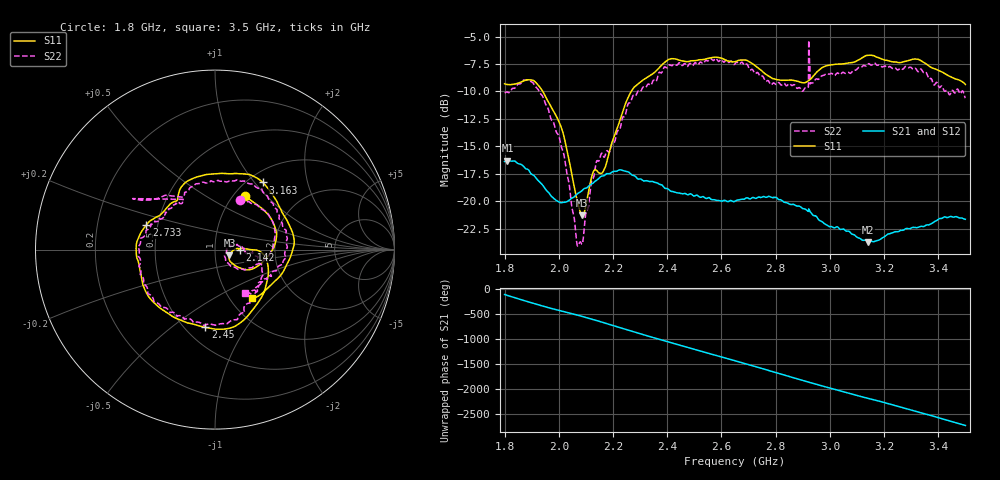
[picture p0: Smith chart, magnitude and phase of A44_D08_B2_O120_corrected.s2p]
! Created with skrf 1.9.0 (http://scikit-rf.org).
# Hz S RI R 50.0
!freq ReS11 ImS11 ReS21 ImS21 ReS12 ImS12 ReS22 ImS22
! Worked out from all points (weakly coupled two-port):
!   1601 points, 1.8 GHz to 3.5 GHz, reference 50 ohm
!   highest |S21| = -16.31 dB at 1.811 GHz (marker M1); lowest = -23.7 dB at 3.142 GHz (marker M2)
!   lowest |S11| = -21.3 dB at 2.087 GHz (marker M3), VSWR 1.19, Z = 58.6 - j3.74 ohm
!   |S11| at or under -10 dB: 1.941 GHz to 2.267 GHz (326.5 MHz wide, 15.5 % of centre)
!   |S22| runs from -24.1 to -5.4 dB; largest |S21 - S12| = 0.0028
!   S11 on the Smith chart (normalised r, x): 1.8 GHz: 1.12, +0.76; 2.142 GHz: 1.32, -0.00; 2.45 GHz: 0.62, -0.67; 2.733 GHz: 0.43, +0.14; 3.163 GHz: 1.16, +1.10; 3.5 GHz: 1.26, -0.77
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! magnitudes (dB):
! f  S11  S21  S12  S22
! 1.8 GHz  -9.3  -16.4  -16.4  -10.1
! 1.811 GHz  -9.4  -16.3  -16.3  -10.1
! 1.885 GHz  -9.0  -17.1  -17.1  -8.9
! 1.941 GHz  -10.0  -18.6  -18.6  -10.5
! 2.011 GHz  -13.5  -20.1  -20.1  -15.2
! 2.067 GHz  -19.8  -19.4  -19.4  -23.9
! 2.084 GHz  -21.2  -19.1  -19.0  -23.9
! 2.087 GHz  -21.3  -19.0  -19.0  -23.9
! 2.142 GHz  -17.3  -18.0  -18.0  -16.3
! 2.169 GHz  -17.1  -17.6  -17.7  -16.0
! 2.268 GHz  -10.0  -17.6  -17.5  -10.8
! 2.367 GHz  -7.9  -18.4  -18.4  -8.4
! 2.45 GHz  -7.2  -19.3  -19.3  -7.5
! 2.65 GHz  -7.3  -20.0  -20.0  -7.5
! 2.733 GHz  -7.8  -19.7  -19.7  -8.3
! 2.898 GHz  -9.2  -20.6  -20.6  -10.0
! 2.934 GHz  -8.7  -21.2  -21.2  -9.2
! 3.142 GHz  -6.7  -23.7  -23.6  -7.5
! 3.163 GHz  -6.8  -23.7  -23.7  -7.4
! 3.217 GHz  -7.2  -23.0  -23.0  -7.8
! 3.326 GHz  -7.1  -22.4  -22.4  -8.2
! 3.5 GHz  -9.4  -21.7  -21.7  -10.6
